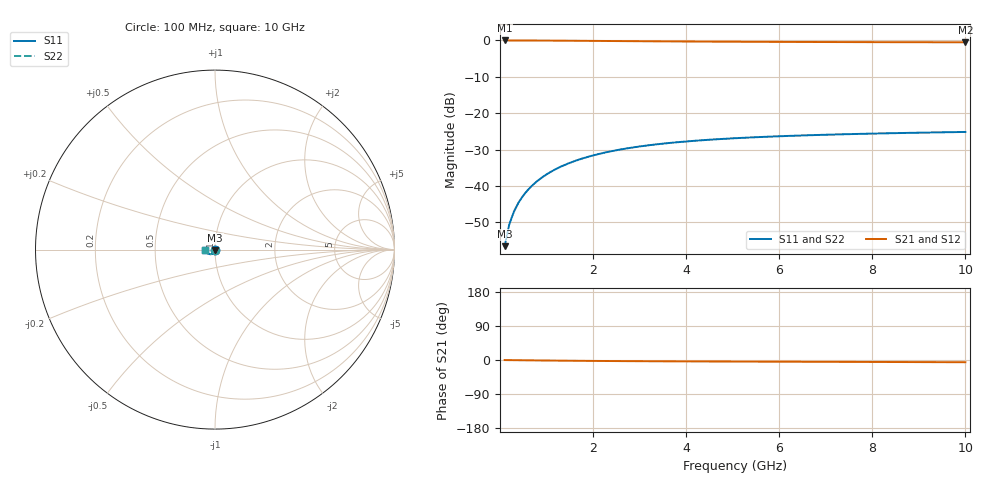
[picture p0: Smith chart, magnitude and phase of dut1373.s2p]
! Touchstone file exported from HFSS 2024.1.0
!  File:  C:/UserFiles/LocalFiles/RDL_TSV_Batchsim/temp_TSV1_1373_1780379380.aedt
!  Generated:  01:56:22 PM Jun  2, 2026
!  Design:  TSV1
!  Project:  temp_TSV1_1373_1780379380
!  Setup:  Setup1
!  Solution:  Sweep
! Variables:
!  dtsv = 10.37um
!  hbump = 3um
!  htsv = 93.36um
!  lrdl = 252.1521522um
!  p = 40
!  p1 = 47.68um
!  t = 500um
!  trdl = 3um
!  wrdl = 24.89489489um
# GHz S MA R 50.000000
! Terminal data exported
! Port[1] = TSV22_T1
! Port[2] = TSV22_T2
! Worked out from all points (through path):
!   100 points, 100 MHz to 10 GHz, reference 50 ohm
!   highest |S21| = 0.00 dB at 100 MHz (marker M1); lowest = -0.5 dB at 10 GHz (marker M2)
!   lowest |S11| = -56.6 dB at 100 MHz (marker M3), VSWR 1.00, Z = 50 - j0.148 ohm
!   |S11| at or under -10 dB: start of sweep to end of sweep
!   |S22| runs from -56.6 to -25.2 dB; largest |S21 - S12| = 4e-15
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0.1  0.001485 -85.9  0.9998 -0.1  0.9998 -0.1  0.001485 -85.9
! Gamma 0 0 0 0
! Port Impedance 50 0 50 0
0.2  0.002959 -90.3  0.9997 -0.3  0.9997 -0.3  0.002959 -90.3
0.3  0.004434 -92.9  0.9994 -0.4  0.9994 -0.4  0.004434 -92.9
0.4  0.005905 -95.1  0.9991 -0.6  0.9991 -0.6  0.005905 -95.1
0.5  0.007366 -97.0  0.9987 -0.7  0.9987 -0.7  0.007366 -97.0
0.6  0.008812 -98.9  0.9982 -0.8  0.9982 -0.8  0.008812 -98.9
0.7  0.01024 -100.7  0.9977 -1.0  0.9977 -1.0  0.01024 -100.7
0.8  0.01165 -102.5  0.997 -1.1  0.997 -1.1  0.01165 -102.5
0.9  0.01303 -104.2  0.9964 -1.2  0.9964 -1.2  0.01303 -104.2
1.1  0.01572 -107.6  0.9948 -1.5  0.9948 -1.5  0.01572 -107.6
1.4  0.01953 -112.4  0.9922 -1.8  0.9922 -1.8  0.01953 -112.4
1.6  0.02191 -115.4  0.9903 -2.0  0.9903 -2.0  0.02191 -115.4
1.8  0.02415 -118.3  0.9883 -2.2  0.9883 -2.2  0.02415 -118.3
2.1  0.02725 -122.4  0.9851 -2.5  0.9851 -2.5  0.02725 -122.4
2.5  0.03093 -127.5  0.981 -2.8  0.981 -2.8  0.03093 -127.5
2.9  0.03412 -132.2  0.977 -3.1  0.977 -3.1  0.03412 -132.2
3.4  0.03751 -137.4  0.9723 -3.4  0.9723 -3.4  0.03751 -137.4
4.2  0.04181 -144.6  0.9658 -3.8  0.9658 -3.8  0.04181 -144.6
5.1  0.04543 -151.4  0.9599 -4.1  0.9599 -4.1  0.04543 -151.4
6.7  0.04989 -161.1  0.9523 -4.7  0.9523 -4.7  0.04989 -161.1
8.4  0.05304 -169.2  0.9469 -5.3  0.9469 -5.3  0.05304 -169.2
10  0.05522 -175.5  0.9434 -5.9  0.9434 -5.9  0.05522 -175.5
